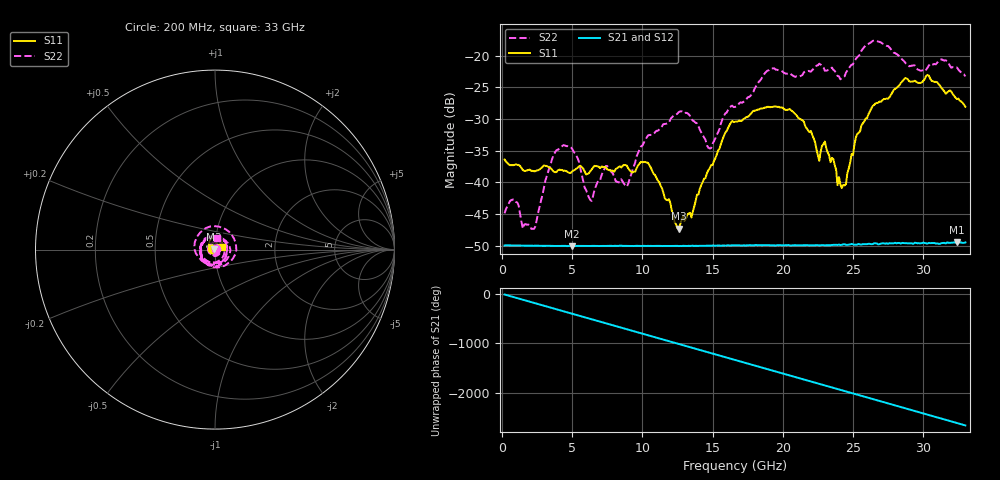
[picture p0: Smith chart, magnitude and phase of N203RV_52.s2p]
# GHZ S RI R 50
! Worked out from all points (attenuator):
!   329 points, 200 MHz to 33 GHz, reference 50 ohm
!   highest |S21| = -49.49 dB at 32.4 GHz (marker M1); lowest = -50.1 dB at 5 GHz (marker M2)
!   lowest |S11| = -47.3 dB at 12.6 GHz (marker M3), VSWR 1.01, Z = 49.6 + j0.169 ohm
!   |S11| at or under -10 dB: start of sweep to end of sweep
!   |S22| runs from -47.4 to -17.6 dB; largest |S21 - S12| = 7.2e-05
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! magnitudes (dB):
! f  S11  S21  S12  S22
! 200 MHz  -36.4  -50.0  -49.9  -44.9
! 900 MHz  -37.3  -50.0  -50.0  -42.7
! 1.5 GHz  -38.1  -50.0  -50.0  -47.3
! 2.3 GHz  -38.3  -50.0  -50.0  -47.4
! 3.7 GHz  -38.3  -50.1  -50.0  -35.7
! 5 GHz  -38.3  -50.1  -50.1  -34.7
! 5.7 GHz  -37.6  -50.1  -50.0  -38.8
! 6.4 GHz  -38.0  -50.0  -50.0  -42.9
! 7.4 GHz  -37.6  -50.1  -50.1  -37.4
! 8.9 GHz  -37.4  -50.0  -50.0  -40.7
! 11.2 GHz  -40.0  -50.0  -50.0  -31.7
! 12.6 GHz  -47.3  -50.1  -50.0  -28.9
! 14.8 GHz  -37.8  -50.0  -50.0  -34.7
! 16.6 GHz  -30.4  -49.9  -49.9  -28.1
! 19.7 GHz  -28.1  -49.9  -49.9  -22.3
! 22.1 GHz  -32.6  -50.0  -49.9  -22.3
! 24.2 GHz  -40.9  -49.9  -49.8  -23.6
! 25.6 GHz  -31.0  -49.8  -49.7  -19.3
! 27.6 GHz  -26.6  -49.6  -49.6  -18.7
! 30.3 GHz  -23.1  -49.7  -49.7  -21.9
! 32.4 GHz  -26.9  -49.5  -49.5  -21.9
! 33 GHz  -28.1  -49.5  -49.5  -23.3
